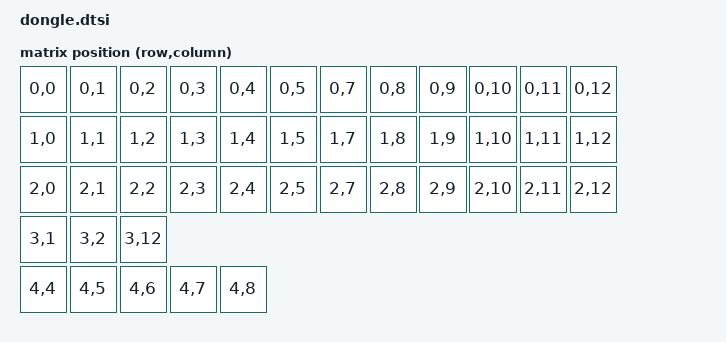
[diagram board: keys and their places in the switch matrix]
#include <dt-bindings/zmk/matrix_transform.h>
#include <dt-bindings/zmk/input_transform.h>
#include <physical_layouts.dtsi>
#include <input/processors.dtsi>
#include "xio.dtsi"
#include <zephyr/dt-bindings/input/input-event-codes.h>

/ {
    chosen {
        zmk,physical-layout = &physical_layout0;
        zmk,kscan = &mock_kscan;
        zephyr,display = &st7789;
        /* zmk,backlight は使用せず、Cコードが直接 pwm_leds を叩きます */
    };

    mock_kscan: mock_kscan_0 {
        compatible = "zmk,kscan-mock";
        status = "okay";
        columns = <0>;
        rows = <0>;
        events = <0>;
    };

    default_transform: keymap_transform_0 {
        compatible = "zmk,matrix-transform";
        columns = <13>;
        rows = <5>;
        map = <
            RC(0,0) RC(0,1) RC(0,2) RC(0,3) RC(0,4) RC(0,5) RC(0,7) RC(0,8) RC(0,9) RC(0,10) RC(0,11) RC(0,12)
            RC(1,0) RC(1,1) RC(1,2) RC(1,3) RC(1,4) RC(1,5) RC(1,7) RC(1,8) RC(1,9) RC(1,10) RC(1,11) RC(1,12)
            RC(2,0) RC(2,1) RC(2,2) RC(2,3) RC(2,4) RC(2,5) RC(2,7) RC(2,8) RC(2,9) RC(2,10) RC(2,11) RC(2,12)
            RC(3,1) RC(3,2) RC(3,12)
            RC(4,4) RC(4,5) RC(4,6) RC(4,7) RC(4,8)
        >;
    };

    physical_layout0: physical_layout0 {
        compatible = "zmk,physical-layout";
        display-name = "Layout";
        transform = <&default_transform>;
        keys
            = <&key_physical_attrs 100 100 150 50 0 0 0>
            /* ... (座標データ44キー分をここに記述) ... */
            ,<&key_physical_attrs 100 100 1072 379 (-1000) 1072 379>
            ;
    };
};

&trackball_listener {
    status = "okay";
};
